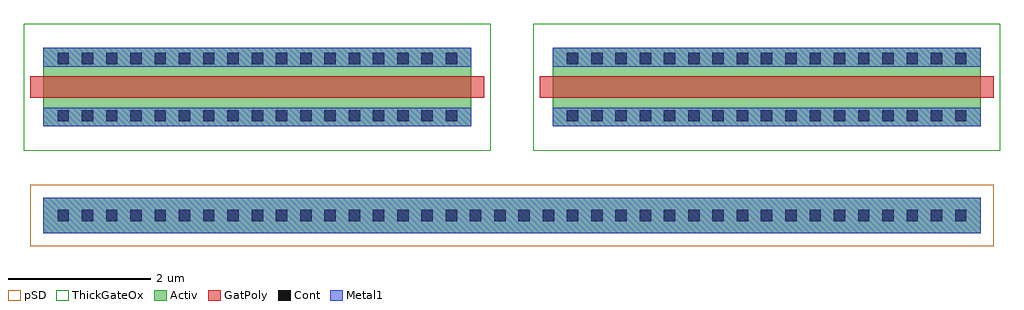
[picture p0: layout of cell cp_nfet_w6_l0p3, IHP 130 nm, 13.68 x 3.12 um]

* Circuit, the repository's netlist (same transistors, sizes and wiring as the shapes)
* extracted by klt extract --deck sg13cmos5l

* cell cp_nfet_w6_l0p3
* pin vsubs
.SUBCKT cp_nfet_w6_l0p3 vsubs
* device instance $1 r0 *1 4.3,3.01 nfet
X$1 \$6 \$2 \$3 vsubs sg13_hv_nmos L=0.3U W=6U AS=2.4P AD=2.4P PS=12.8U PD=12.8U
* device instance $2 r0 *1 12.26,3.01 nfet
X$2 \$7 \$4 \$5 vsubs sg13_hv_nmos L=0.3U W=6U AS=2.4P AD=2.4P PS=12.8U PD=12.8U
.ENDS cp_nfet_w6_l0p3

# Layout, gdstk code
import gdstk
lib = gdstk.Library(unit=1e-6, precision=1e-09)
def R(c, l, rs):  # rectangles x0, y0, x1, y1
    for r in rs: c.add(gdstk.rectangle(r[:2], r[2:], *l))
def A(c, l, x, y, w, h, nx, ny, dx, dy):  # array of equal rectangles
    R(c, l, [(x+i*dx, y+j*dy, x+i*dx+w, y+j*dy+h) for i in range(nx) for j in range(ny)])
Activ = (1, 0)
GatPoly = (5, 0)
Cont = (6, 0)
Metal1 = (8, 0)
pSD = (14, 0)
ThickGateOx = (44, 0)

cp_nfet_w6_l0p3 = lib.new_cell('cp_nfet_w6_l0p3')
R(cp_nfet_w6_l0p3, Activ, [(0.89,0.96,14.03,1.46), (0.89,2.46,6.89,3.56), (8.03,2.46,14.03,3.56)])
R(cp_nfet_w6_l0p3, GatPoly, [(0.71,2.86,7.07,3.16), (7.85,2.86,14.21,3.16)])
A(cp_nfet_w6_l0p3, Cont, 1.09, 1.13, 0.16, 0.16, 38, 1, 0.34, 0)
A(cp_nfet_w6_l0p3, Cont, 1.09, 2.53, 0.16, 0.16, 17, 2, 0.34, 0.8)
A(cp_nfet_w6_l0p3, Cont, 8.23, 2.53, 0.16, 0.16, 17, 2, 0.34, 0.8)
R(cp_nfet_w6_l0p3, Metal1, [(0.89,0.96,14.03,1.46), (0.89,2.46,6.89,2.72), (8.03,2.46,14.03,2.72), (0.89,3.3,6.89,3.56), (8.03,3.3,14.03,3.56)])
R(cp_nfet_w6_l0p3, pSD, [(0.71,0.78,14.21,1.64)])
R(cp_nfet_w6_l0p3, ThickGateOx, [(0.62,2.12,7.16,3.9), (7.76,2.12,14.3,3.9)])

lib.write_gds('cp_nfet_w6_l0p3.gds')
